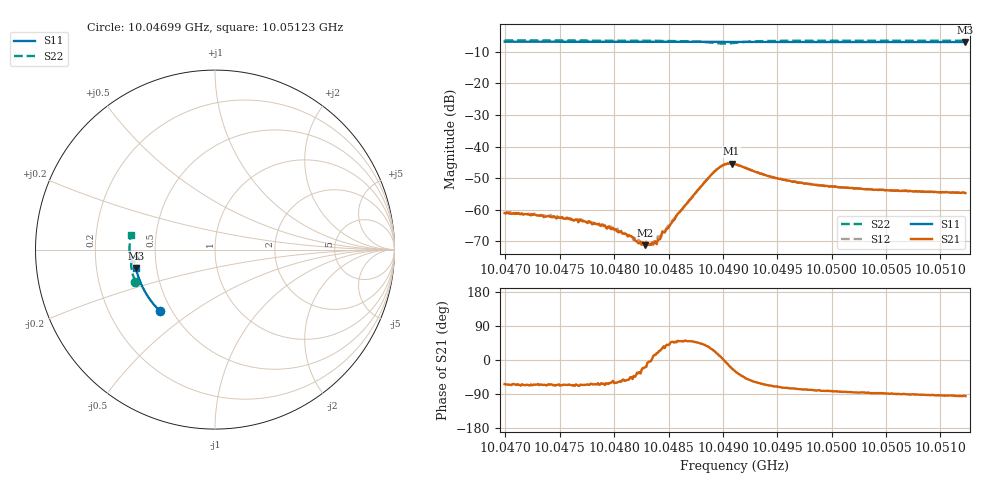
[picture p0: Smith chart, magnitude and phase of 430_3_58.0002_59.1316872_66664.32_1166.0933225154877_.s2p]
#  HZ  S  RI  R  50.00
! Rohde & Schwarz Vector Network Analyzer
! Rohde-Schwarz,ZNB20-2Port,1311601062101988,3.16
! Created: UTC 3/21/2024, 1:09:37 AM
! freq[Hz]  re:S11  im:S11  re:S21  im:S21  re:S12  im:S12  re:S22  im:S22
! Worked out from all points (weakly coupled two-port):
!   401 points, 10.04699 GHz to 10.05123 GHz, reference 50 ohm
!   highest |S21| = -45.37 dB at 10.04908 GHz (marker M1); lowest = -71.2 dB at 10.04828 GHz (marker M2)
!   lowest |S11| = -6.9 dB at 10.05123 GHz (marker M3), VSWR 2.65, Z = 19.1 - j4.98 ohm
!   |S11| at or under -10 dB: nowhere
!   |S22| runs from -7.4 to -6.4 dB; largest |S21 - S12| = 0.00038
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1.0046993e10  -0.306 -0.3429  0.000395 -0.000793  0.000448 -0.000795  -0.4446 -0.1804
1.0047279e10  -0.3192 -0.3295  0.000346 -0.000754  0.00041 -0.000744  -0.451 -0.1622
1.0047702e10  -0.3381 -0.3089  0.000274 -0.000605  0.000307 -0.000625  -0.4592 -0.1342
1.0047978e10  -0.3496 -0.2948  0.000255 -0.000418  0.000283 -0.000423  -0.4634 -0.1149
1.0048158e10  -0.357 -0.2855  0.000269 -0.00027  0.000248 -0.000245  -0.4655 -0.1018
1.0048232e10  -0.3599 -0.2816  0.000251 -0.000156  0.000248 -0.000158  -0.4662 -0.0962
1.0048285e10  -0.3618 -0.2787  0.000261 -8.9e-05  0.000268 -9.03e-05  -0.4666 -0.092
1.0048327e10  -0.3637 -0.2763  0.000283 -2.04e-05  0.000287 -1.03e-05  -0.4668 -0.0887
1.0048359e10  -0.3648 -0.2746  0.000285 5e-05  0.000273 2.46e-05  -0.4669 -0.0861
1.0048412e10  -0.367 -0.272  0.000309 0.000135  0.000335 0.000172  -0.4671 -0.0817
1.0048422e10  -0.3673 -0.2714  0.000311 0.000142  0.000335 0.00019  -0.467 -0.0808
1.0048486e10  -0.3697 -0.2679  0.000382 0.000327  0.000389 0.000356  -0.4669 -0.0752
1.0048592e10  -0.3734 -0.262  0.000577 0.000674  0.000521 0.000671  -0.4658 -0.0654
1.0048899e10  -0.384 -0.2447  0.00324 0.00174  0.00313 0.00193  -0.4407 -0.0389
1.0048994e10  -0.3868 -0.2394  0.00498 0.000328  0.00504 0.000642  -0.4262 -0.0486
1.0049079e10  -0.3896 -0.2349  0.00501 -0.00199  0.00515 -0.00164  -0.4297 -0.0651
1.0049111e10  -0.3907 -0.2332  0.00459 -0.0026  0.00478 -0.0023  -0.4346 -0.0685
1.004945e10  -0.4015 -0.2137  0.00121 -0.00304  0.00138 -0.00301  -0.4692 -0.0465
1.004982e10  -0.4118 -0.1916  0.000474 -0.00247  0.000625 -0.00245  -0.4754 -0.0156
1.0050181e10  -0.4207 -0.1697  0.000196 -0.0022  0.000325 -0.00217  -0.4762 0.0111
1.005053e10  -0.4283 -0.1481  3.02e-05 -0.00203  0.000163 -0.00202  -0.4752 0.0356
1.0051229e10  -0.44 -0.1038  -0.000163 -0.00182  -5.39e-05 -0.00185  -0.4691 0.0825
